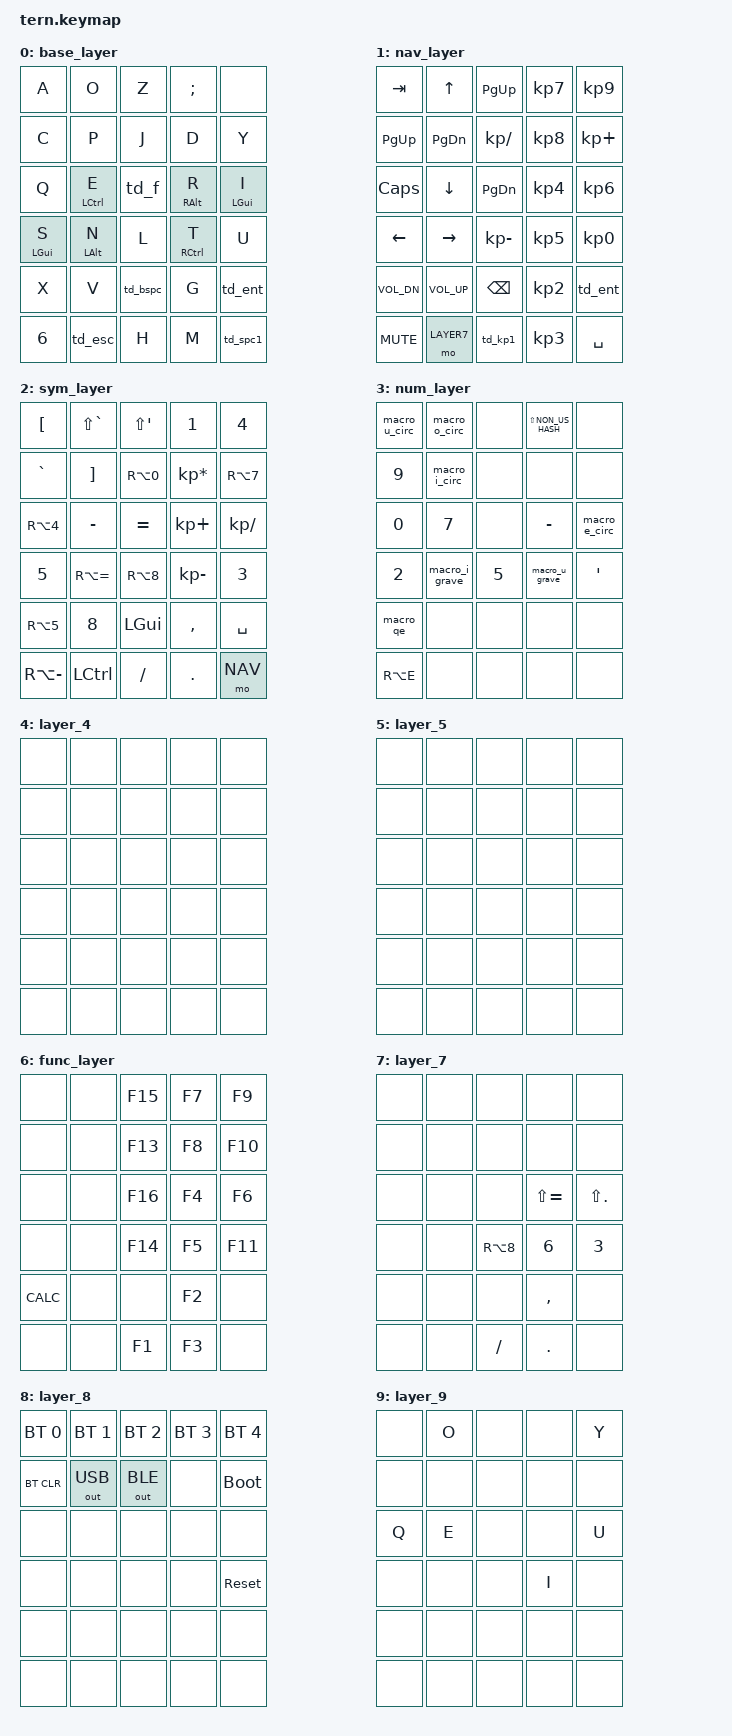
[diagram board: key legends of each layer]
/*
 * Copyright (c) 2020 The ZMK Contributors
 *
 * SPDX-License-Identifier: MIT
 */

#include <behaviors.dtsi>
#include <dt-bindings/zmk/keys.h>
#include <dt-bindings/zmk/bt.h>
#include <dt-bindings/zmk/outputs.h>

// Définition des layers
#define BASE 0
#define NAV 1
#define SYM 2
#define NUM 3
#define LAYER4 4
#define LAYER5 5
#define FUNC 6
#define LAYER7 7
#define LAYER8 8
#define LAYER9 9

/ {
    behaviors {
        // Tap Dance pour remplacer TD(1) - OSL(3) ou / ou passage layer 1
        td_slash: tap_dance_slash {
            compatible = "zmk,behavior-tap-dance";
            #binding-cells = <0>;
            tapping-term-ms = <100>;
            bindings = <&sl NUM>, <&kp SLASH>;
        };

        // TD(5) - Backspace avec comportements multiples
        td_bspc: tap_dance_backspace {
            compatible = "zmk,behavior-tap-dance";
            #binding-cells = <0>;
            tapping-term-ms = <250>;
            bindings = <&kp BSPC>, <&mo FUNC>, <&kp LC(BSPC)>, <&kp DEL>;
        };

        // TD(9) - Space avec MO(1)
        td_spc1: tap_dance_space1 {
            compatible = "zmk,behavior-tap-dance";
            #binding-cells = <0>;
            tapping-term-ms = <200>;
            bindings = <&kp SPACE>, <&mo NAV>;
        };

        // TD(10) - Enter avec MO(2)
        td_ent: tap_dance_enter {
            compatible = "zmk,behavior-tap-dance";
            #binding-cells = <0>;
            tapping-term-ms = <250>;
            bindings = <&kp RET>, <&mo SYM>;
        };

        // TD(11) - F avec MO(6)
        td_f: tap_dance_f {
            compatible = "zmk,behavior-tap-dance";
            #binding-cells = <0>;
            tapping-term-ms = <250>;
            bindings = <&kp F>, <&mo FUNC>;
        };

        // TD(14) - Escape avec Shift
        td_esc: tap_dance_esc {
            compatible = "zmk,behavior-tap-dance";
            #binding-cells = <0>;
            tapping-term-ms = <200>;
            bindings = <&kp ESC>, <&kp LSHFT>;
        };

        // TD(16) - KP_1 avec Numlock au hold long
        td_kp1: tap_dance_kp1 {
            compatible = "zmk,behavior-tap-dance";
            #binding-cells = <0>;
            tapping-term-ms = <200>;
            bindings = <&kp KP_N1>, <&none>, <&none>, <&kp KP_NUM>;
        };

        // Macros pour les accents français
        macro_u_grave: macro_u_grave {
            compatible = "zmk,behavior-macro";
            #binding-cells = <0>;
            bindings = <&kp LBKT &kp U>;
        };

        macro_i_grave: macro_i_grave {
            compatible = "zmk,behavior-macro";
            #binding-cells = <0>;
            bindings = <&kp LBKT &kp I>;
        };

        macro_u_circ: macro_u_circ {
            compatible = "zmk,behavior-macro";
            #binding-cells = <0>;
            bindings = <&kp LBKT &kp Q>;
        };

        macro_e_circ: macro_e_circ {
            compatible = "zmk,behavior-macro";
            #binding-cells = <0>;
            bindings = <&kp LBKT &kp E>;
        };

        macro_i_circ: macro_i_circ {
            compatible = "zmk,behavior-macro";
            #binding-cells = <0>;
            bindings = <&kp LS(LBKT) &kp I>;
        };

        macro_o_circ: macro_o_circ {
            compatible = "zmk,behavior-macro";
            #binding-cells = <0>;
            bindings = <&kp LBKT &kp O>;
        };

        macro_oe: macro_oe {
            compatible = "zmk,behavior-macro";
            #binding-cells = <0>;
            bindings = <&kp O &kp E>;
        };

        macro_qe: macro_qe {
            compatible = "zmk,behavior-macro";
            #binding-cells = <0>;
            bindings = <&kp Q &kp E>;
        };

        macro_e_grave: macro_e_grave {
            compatible = "zmk,behavior-macro";
            #binding-cells = <0>;
            bindings = <&kp LBKT &kp E>;
        };

        macro_e_grave_maj: macro_e_grave_maj {
            compatible = "zmk,behavior-macro";
            #binding-cells = <0>;
            bindings = <&kp LS(LBKT) &kp E>;
        };

        // Macro pour espace insécable
        macro_nbsp_test: macro_nbsp_test {
            compatible = "zmk,behavior-macro";
            #binding-cells = <0>;
            bindings = 
                <&macro_press &kp LALT>,
                <&macro_tap &kp KP_N0 &kp KP_N1 &kp KP_N6 &kp KP_N0>,
                <&macro_release &kp LALT>,
                <&macro_tap &kp SPACE &kp T &kp E &kp S &kp T>;
        };

        // Macro texte
        macro_hqrpentier: macro_hqrpentier {
            compatible = "zmk,behavior-macro";
            #binding-cells = <0>;
            bindings = <&kp H &kp Q &kp R &kp P &kp E &kp N &kp T &kp I &kp E &kp R>;
        };

        macro_email: macro_email {
            compatible = "zmk,behavior-macro";
            #binding-cells = <0>;
            bindings = 
                <&kp A &kp L &kp A &kp I &kp N &kp AT &kp C &kp H &kp A &kp R &kp P &kp E &kp N &kp T &kp I &kp E &kp R &kp SPACE>;
        };

        // Comportements hold-tap personnalisés
        hm_l: homerow_mods_left {
            compatible = "zmk,behavior-hold-tap";
            #binding-cells = <2>;
            tapping-term-ms = <200>;
            quick-tap-ms = <175>;
            flavor = "balanced";
            bindings = <&kp>, <&kp>;
            hold-trigger-key-positions = <5 6 7 8 9 15 16 17 18 19 25 26 27 28 29>; // Touches droite
        };

        hm_r: homerow_mods_right {
            compatible = "zmk,behavior-hold-tap";
            #binding-cells = <2>;
            tapping-term-ms = <200>;
            quick-tap-ms = <175>;
            flavor = "balanced";
            bindings = <&kp>, <&kp>;
            hold-trigger-key-positions = <0 1 2 3 4 10 11 12 13 14 20 21 22 23 24>; // Touches gauche
        };
    };

    combos {
        compatible = "zmk,combos";

        // Combo Shift (6 + V)
        combo_shift {
            timeout-ms = <50>;
            key-positions = <4 21>;
            bindings = <&sk LSHFT>;
        };

        // Combo Delete (Backspace + Shift)
        combo_del {
            timeout-ms = <50>;
            key-positions = <27 28>;
            bindings = <&kp DEL>;
        };

        // Combo B (Z + F)
        combo_b {
            timeout-ms = <50>;
            key-positions = <2 22>;
            bindings = <&kp B>;
        };

        // Combo V (N + P)
        combo_v {
            timeout-ms = <50>;
            key-positions = <13 11>;
            bindings = <&kp V>;
        };

        // Combo X (S + C)
        combo_x {
            timeout-ms = <50>;
            key-positions = <10 20>;
            bindings = <&kp X>;
        };

        // Combo @ (NONUS_BSLASH + 5)
        combo_at {
            timeout-ms = <50>;
            key-positions = <10 14>;
            bindings = <&kp RA(N2)>;
        };

        // Combo K (Y + U)
        combo_k {
            timeout-ms = <50>;
            key-positions = <14 24>;
            bindings = <&kp K>;
        };

        // Combo W (A + Q)
        combo_w {
            timeout-ms = <50>;
            key-positions = <0 20>;
            bindings = <&kp W>;
        };

        // Combo H (SEMI + R)
        combo_h {
            timeout-ms = <50>;
            key-positions = <3 23>;
            bindings = <&kp H>;
        };

        // Combo G (D + T)
        combo_g {
            timeout-ms = <50>;
            key-positions = <13 23>;
            bindings = <&kp G>;
        };

        // Combo M (SEMI + I)
        combo_m {
            timeout-ms = <50>;
            key-positions = <4 24>;
            bindings = <&kp M>;
        };

        // Combo Caps Word (Bspc + Space)
        combo_caps {
            timeout-ms = <50>;
            key-positions = <27 28>;
            bindings = <&caps_word>;
        };
    };

    keymap {
        compatible = "zmk,keymap";

        // Layer 0: BASE (Ergo-L)
        base_layer {
            bindings = <
                &kp A           &kp O           &kp Z           &kp SEMI        &none
                &kp C           &kp P           &kp J           &kp D           &kp Y
                &kp Q           &hm_l LCTRL E   &td_f           &hm_r RALT R    &hm_r LGUI I
                &hm_l LGUI S    &hm_l LALT N    &kp L           &hm_r RCTRL T   &kp U
                &kp X           &kp V           &td_bspc        &kp G           &td_ent
                &kp N6          &td_esc         &kp H           &kp M           &td_spc1
            >;
        };

        // Layer 1: NAV (Navigation)
        nav_layer {
            bindings = <
                &kp TAB         &kp UP          &kp PG_UP       &kp KP_N7       &kp KP_N9
                &kp PG_UP       &kp PG_DN       &kp KP_SLASH    &kp KP_N8       &kp KP_PLUS
                &kp CAPS        &kp DOWN        &kp PG_DN       &kp KP_N4       &kp KP_N6
                &kp LEFT        &kp RIGHT       &kp KP_MINUS    &kp KP_N5       &kp KP_N0
                &kp C_VOL_DN    &kp C_VOL_UP    &kp BSPC        &kp KP_N2       &td_ent
                &kp C_MUTE      &mo LAYER7      &td_kp1         &kp KP_N3       &kp SPACE
            >;
        };

        // Layer 2: SYM (Symboles)
        sym_layer {
            bindings = <
                &kp LBKT        &kp LS(GRAVE)   &kp LS(SQT)     &kp N1          &kp N4
                &kp GRAVE       &kp RBKT        &kp RA(N0)      &kp KP_MULTIPLY &kp RA(N7)
                &kp RA(N4)      &kp MINUS       &kp EQUAL       &kp KP_PLUS     &kp KP_SLASH
                &kp N5          &kp RA(EQUAL)   &kp RA(N8)      &kp KP_MINUS    &kp N3
                &kp RA(N5)      &kp N8          &kp LGUI        &kp COMMA       &kp SPACE
                &kp RA(MINUS)   &kp LCTRL       &kp SLASH       &kp DOT         &mo NAV
            >;
        };

        // Layer 3: NUM (Chiffres et accents)
        num_layer {
            bindings = <
                &macro_u_circ   &macro_o_circ   &none           &kp LS(NON_US_HASH) &none
                &kp N9          &macro_i_circ   &none           &none           &none
                &kp N0          &kp N7          &none           &kp MINUS       &macro_e_circ
                &kp N2          &macro_i_grave  &kp N5          &macro_u_grave  &kp SQT
                &macro_qe       &none           &none           &none           &none
                &kp RA(E)       &none           &none           &none           &none
            >;
        };

        // Layers 4-5 vides
        layer_4 {
            bindings = <
                &none &none &none &none &none
                &none &none &none &none &none
                &none &none &none &none &none
                &none &none &none &none &none
                &none &none &none &none &none
                &none &none &none &none &none
            >;
        };

        layer_5 {
            bindings = <
                &none &none &none &none &none
                &none &none &none &none &none
                &none &none &none &none &none
                &none &none &none &none &none
                &none &none &none &none &none
                &none &none &none &none &none
            >;
        };

        // Layer 6: FUNC (Fonctions et souris)
        func_layer {
            bindings = <
                &none           &none           &kp F15         &kp F7          &kp F9
                &none           &none           &kp F13         &kp F8          &kp F10
                &none           &none           &kp F16         &kp F4          &kp F6
                &none           &none           &kp F14         &kp F5          &kp F11
                &kp K_CALC      &none           &none           &kp F2          &none
                &none           &none           &kp F1          &kp F3          &none
            >;
        };

        // Layer 7
        layer_7 {
            bindings = <
                &none &none &none           &none           &none
                &none &none &none           &none           &none
                &none &none &none           &kp LS(EQUAL)   &kp LS(DOT)
                &none &none &kp RA(N8)      &kp N6          &kp N3
                &none &none &none           &kp COMMA       &none
                &none &none &kp SLASH       &kp DOT         &none
            >;
        };

        // Layer 8: BT et système
        layer_8 {
            bindings = <
                &bt BT_SEL 0    &bt BT_SEL 1    &bt BT_SEL 2    &bt BT_SEL 3    &bt BT_SEL 4
                &bt BT_CLR      &out OUT_USB    &out OUT_BLE    &none           &bootloader
                &none           &none           &none           &none           &none
                &none           &none           &none           &none           &sys_reset
                &none           &none           &none           &none           &none
                &none           &none           &none           &none           &none
            >;
        };

        // Layer 9: Voyelles sans modificateurs
        layer_9 {
            bindings = <
                &none &kp O &none &none &kp Y
                &none &none &none &none &none
                &kp Q &kp E &none &none &kp U
                &none &none &none &kp I &none
                &none &none &none &none &none
                &none &none &none &none &none
            >;
        };
    };
};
